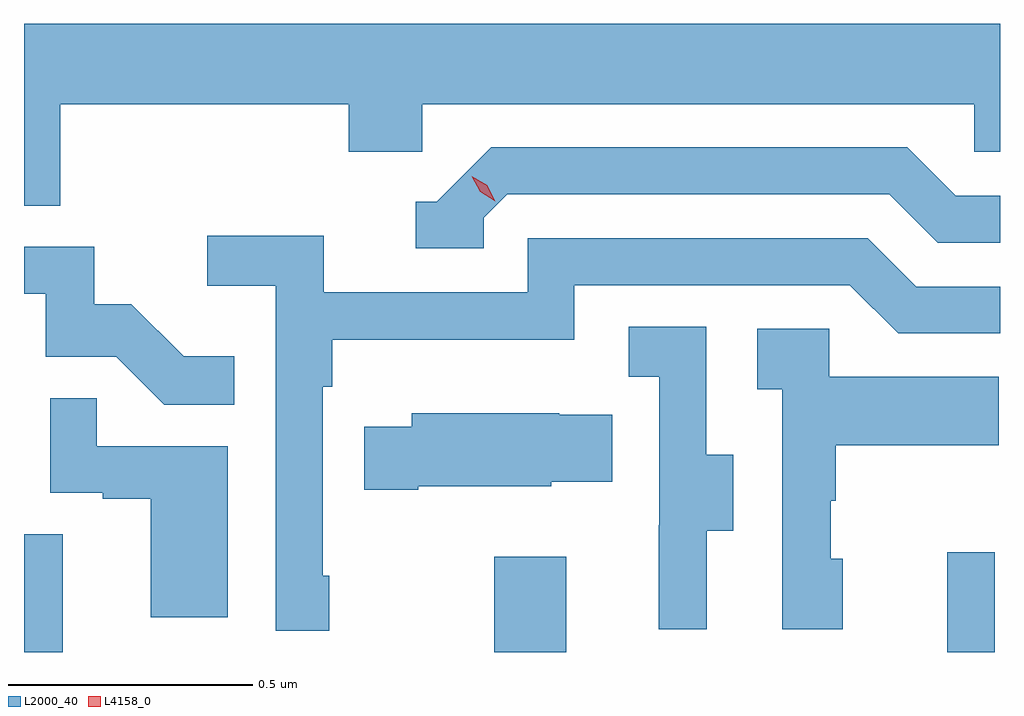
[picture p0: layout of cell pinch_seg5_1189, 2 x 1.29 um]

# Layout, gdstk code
import gdstk
lib = gdstk.Library(unit=1e-6, precision=1e-09)
def R(c, l, rs):  # rectangles x0, y0, x1, y1
    for r in rs: c.add(gdstk.rectangle(r[:2], r[2:], *l))
def P(c, l, *ps):  # polygons
    for p in ps: c.add(gdstk.Polygon(p, *l))
L2000_40 = (2000, 40)
L4158_0 = (4158, 0)

pinch_seg5_1189 = lib.new_cell('pinch_seg5_1189')
R(pinch_seg5_1189, L2000_40, [(849.066,838.321,849.145,838.562), (850.03,838.321,850.177,838.516), (850.958,838.321,851.055,838.525)])
P(pinch_seg5_1189, L2000_40, [(849.14,839.444),(849.731,839.444),(849.731,839.346),(849.882,839.346),(849.882,839.444),(851.013,839.444),(851.013,839.346),(851.066,839.346),(851.066,839.608),(849.066,839.608),(849.066,839.236),(849.14,839.236)],
  [(850.008,839.211),(850.056,839.259),(850.839,839.259),(850.938,839.16),(851.066,839.16),(851.066,839.256),(850.975,839.256),(850.876,839.355),(850.023,839.355),(849.912,839.244),(849.869,839.244),(849.869,839.148),(850.008,839.148)],
  [(849.691,838.477),(849.678,838.477),(849.678,838.865),(849.698,838.865),(849.698,838.961),(850.194,838.961),(850.194,839.073),(850.758,839.073),(850.857,838.974),(851.066,838.974),(851.066,839.07),(850.894,839.07),(850.795,839.169),(850.098,839.169),(850.098,839.058),(849.68,839.058),(849.68,839.174),(849.441,839.174),(849.441,839.072),(849.582,839.072),(849.582,838.365),(849.691,838.365)],
  [(849.497,838.927),(849.393,838.927),(849.286,839.034),(849.21,839.034),(849.21,839.151),(849.066,839.151),(849.066,839.055),(849.111,839.055),(849.111,838.926),(849.255,838.926),(849.353,838.828),(849.497,838.828)],
  [(850.465,838.57),(850.519,838.57),(850.519,838.725),(850.464,838.725),(850.464,838.988),(850.305,838.988),(850.305,838.885),(850.368,838.885),(850.368,838.581),(850.367,838.581),(850.367,838.368),(850.465,838.368)],
  [(850.744,838.512),(850.719,838.512),(850.719,838.631),(850.729,838.631),(850.729,838.745),(851.063,838.745),(851.063,838.885),(850.716,838.885),(850.716,838.983),(850.569,838.983),(850.569,838.859),(850.62,838.859),(850.62,838.368),(850.744,838.368)],
  [(849.484,838.743),(849.215,838.743),(849.215,838.841),(849.12,838.841),(849.12,838.647),(849.227,838.647),(849.227,838.635),(849.326,838.635),(849.326,838.392),(849.484,838.392)],
  [(849.874,838.661),(850.146,838.661),(850.146,838.67),(850.271,838.67),(850.271,838.807),(850.163,838.807),(850.163,838.81),(849.861,838.81),(849.861,838.783),(849.763,838.783),(849.763,838.654),(849.874,838.654)])
P(pinch_seg5_1189, L4158_0, [(850.032,839.245),(850.001,839.264),(849.984,839.296),(849.984,839.296),(849.984,839.296),(850.015,839.278),(850.032,839.245),(850.032,839.245)])

lib.write_gds('pinch_seg5_1189.gds')
